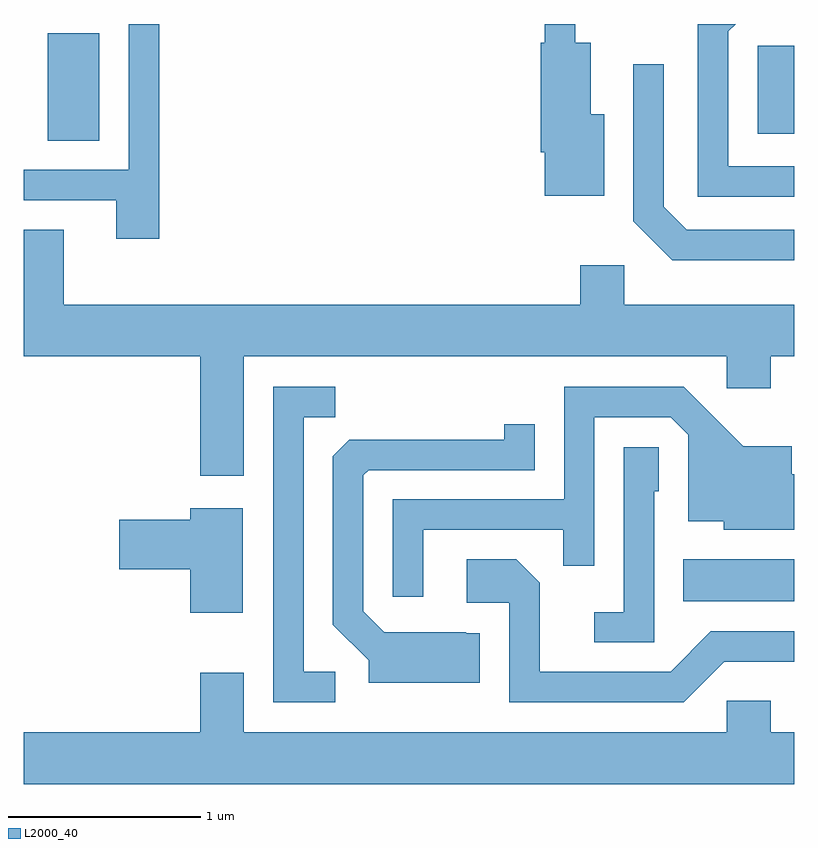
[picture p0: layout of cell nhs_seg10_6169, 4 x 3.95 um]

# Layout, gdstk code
import gdstk
lib = gdstk.Library(unit=1e-6, precision=1e-09)
def R(c, l, rs):  # rectangles x0, y0, x1, y1
    for r in rs: c.add(gdstk.rectangle(r[:2], r[2:], *l))
def P(c, l, *ps):  # polygons
    for p in ps: c.add(gdstk.Polygon(p, *l))
L2000_40 = (2000, 40)

nhs_seg10_6169 = lib.new_cell('nhs_seg10_6169')
R(nhs_seg10_6169, L2000_40, [(371.036,2121.526,371.611,2121.744), (367.736,2123.916,368.004,2124.474), (371.421,2123.951,371.611,2124.409)])
P(nhs_seg10_6169, L2000_40, [(370.624,2124.054),(370.554,2124.054),(370.554,2124.424),(370.474,2124.424),(370.474,2124.522),(370.316,2124.522),(370.316,2124.424),(370.296,2124.424),(370.296,2123.856),(370.316,2123.856),(370.316,2123.631),(370.624,2123.631)],
  [(371.611,2123.784),(371.269,2123.784),(371.269,2124.484),(371.307,2124.522),(371.111,2124.522),(371.111,2123.626),(371.611,2123.626)],
  [(368.314,2124.522),(368.156,2124.522),(368.156,2123.764),(367.611,2123.764),(367.611,2123.606),(368.091,2123.606),(368.091,2123.406),(368.314,2123.406)],
  [(371.611,2123.454),(371.052,2123.454),(370.934,2123.572),(370.934,2124.313),(370.776,2124.313),(370.776,2123.499),(370.979,2123.296),(371.611,2123.296)],
  [(368.754,2122.796),(371.261,2122.796),(371.261,2122.631),(371.489,2122.631),(371.489,2122.796),(371.611,2122.796),(371.611,2123.064),(370.729,2123.064),(370.729,2123.269),(370.501,2123.269),(370.501,2123.064),(367.819,2123.064),(367.819,2123.454),(367.611,2123.454),(367.611,2122.796),(368.526,2122.796),(368.526,2122.176),(368.754,2122.176)],
  [(369.228,2121.159),(369.064,2121.159),(369.064,2122.481),(369.228,2122.481),(369.228,2122.639),(368.906,2122.639),(368.906,2121.001),(369.228,2121.001)],
  [(369.684,2121.896),(370.411,2121.896),(370.411,2121.708),(370.574,2121.708),(370.574,2122.481),(370.969,2122.481),(371.061,2122.389),(371.061,2121.941),(371.246,2121.941),(371.246,2121.896),(371.611,2121.896),(371.611,2122.184),(371.599,2122.184),(371.599,2122.329),(371.347,2122.329),(371.037,2122.639),(370.416,2122.639),(370.416,2122.054),(369.526,2122.054),(369.526,2121.548),(369.684,2121.548)],
  [(369.979,2121.359),(369.911,2121.359),(369.906,2121.364),(369.482,2121.364),(369.374,2121.472),(369.374,2122.179),(369.402,2122.206),(370.264,2122.206),(370.264,2122.443),(370.106,2122.443),(370.106,2122.364),(369.302,2122.364),(369.216,2122.279),(369.216,2121.404),(369.401,2121.219),(369.401,2121.101),(369.979,2121.101)],
  [(370.884,2122.096),(370.909,2122.096),(370.909,2122.324),(370.726,2122.324),(370.726,2121.469),(370.573,2121.469),(370.573,2121.311),(370.884,2121.311)],
  [(368.749,2122.009),(368.476,2122.009),(368.476,2121.949),(368.106,2121.949),(368.106,2121.691),(368.476,2121.691),(368.476,2121.466),(368.749,2121.466)],
  [(371.247,2121.211),(371.611,2121.211),(371.611,2121.369),(371.179,2121.369),(370.969,2121.159),(370.289,2121.159),(370.289,2121.622),(370.167,2121.744),(369.911,2121.744),(369.911,2121.516),(370.131,2121.516),(370.131,2121.001),(371.037,2121.001)],
  [(371.611,2120.844),(371.489,2120.844),(371.489,2121.009),(371.261,2121.009),(371.261,2120.844),(368.754,2120.844),(368.754,2121.154),(368.526,2121.154),(368.526,2120.844),(367.611,2120.844),(367.611,2120.576),(371.611,2120.576)])

lib.write_gds('nhs_seg10_6169.gds')
